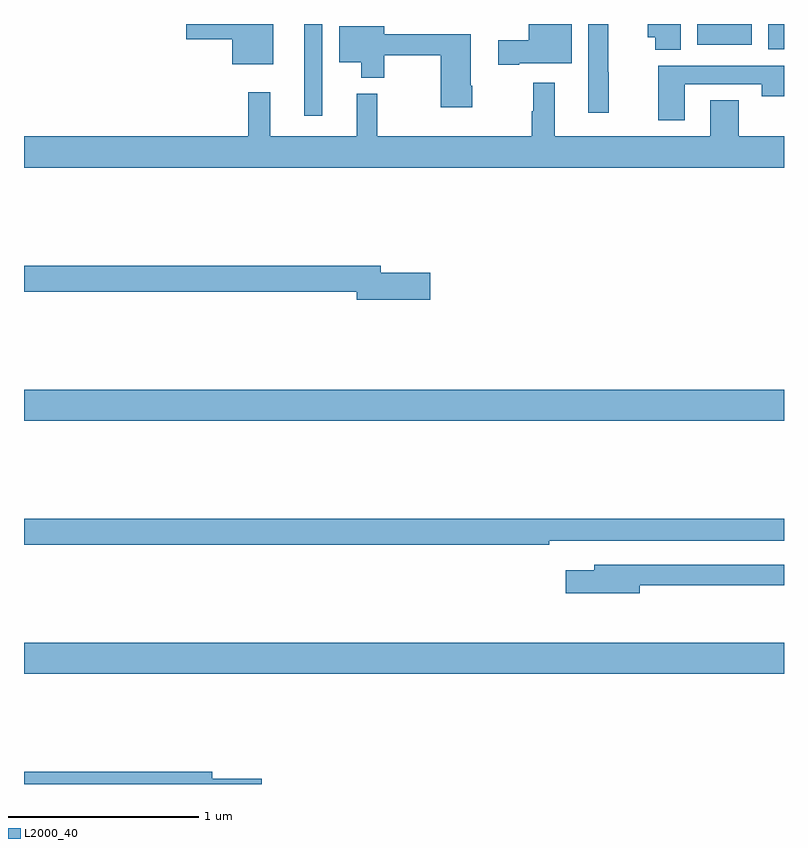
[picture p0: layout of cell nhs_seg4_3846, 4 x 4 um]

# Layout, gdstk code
import gdstk
lib = gdstk.Library(unit=1e-6, precision=1e-09)
def R(c, l, rs):  # rectangles x0, y0, x1, y1
    for r in rs: c.add(gdstk.rectangle(r[:2], r[2:], *l))
def P(c, l, *ps):  # polygons
    for p in ps: c.add(gdstk.Polygon(p, *l))
L2000_40 = (2000, 40)

nhs_seg4_3846 = lib.new_cell('nhs_seg4_3846')
R(nhs_seg4_3846, L2000_40, [(313,803.48,317,803.644), (313,804.812,317,804.976), (314.474,806.418,314.571,806.9), (316.916,806.768,317,806.9), (316.544,806.792,316.831,806.9)])
P(nhs_seg4_3846, L2000_40, [(314.311,806.9),(313.854,806.9),(313.854,806.819),(314.096,806.819),(314.096,806.687),(314.311,806.687)],
  [(315.607,806.693),(315.883,806.693),(315.883,806.9),(315.656,806.9),(315.656,806.815),(315.495,806.815),(315.495,806.686),(315.607,806.686)],
  [(316.456,806.9),(316.283,806.9),(316.283,806.831),(316.322,806.831),(316.322,806.764),(316.456,806.764)],
  [(316.078,806.645),(316.075,806.645),(316.075,806.9),(315.971,806.9),(315.971,806.433),(316.078,806.433)],
  [(315.36,806.575),(315.352,806.575),(315.352,806.847),(314.896,806.847),(314.896,806.887),(314.66,806.887),(314.66,806.699),(314.774,806.699),(314.774,806.618),(314.896,806.618),(314.896,806.736),(315.194,806.736),(315.194,806.463),(315.36,806.463)],
  [(316.477,806.583),(316.882,806.583),(316.882,806.52),(317,806.52),(317,806.679),(316.337,806.679),(316.337,806.394),(316.477,806.394)],
  [(317,806.308),(316.761,806.308),(316.761,806.498),(316.613,806.498),(316.613,806.308),(315.793,806.308),(315.793,806.59),(315.679,806.59),(315.679,806.441),(315.672,806.441),(315.672,806.308),(314.86,806.308),(314.86,806.533),(314.75,806.533),(314.75,806.308),(314.297,806.308),(314.297,806.542),(314.179,806.542),(314.179,806.308),(313,806.308),(313,806.144),(317,806.144)],
  [(315.139,805.592),(314.878,805.592),(314.878,805.628),(313,805.628),(313,805.492),(314.75,805.492),(314.75,805.45),(315.139,805.45)],
  [(315.764,804.18),(317,804.18),(317,804.296),(313,804.296),(313,804.16),(315.764,804.16)],
  [(316.24,803.946),(317,803.946),(317,804.054),(316.001,804.054),(316.001,804.025),(315.852,804.025),(315.852,803.903),(316.24,803.903)],
  [(314.251,802.928),(313.99,802.928),(313.99,802.964),(313,802.964),(313,802.9),(314.251,802.9)])

lib.write_gds('nhs_seg4_3846.gds')
